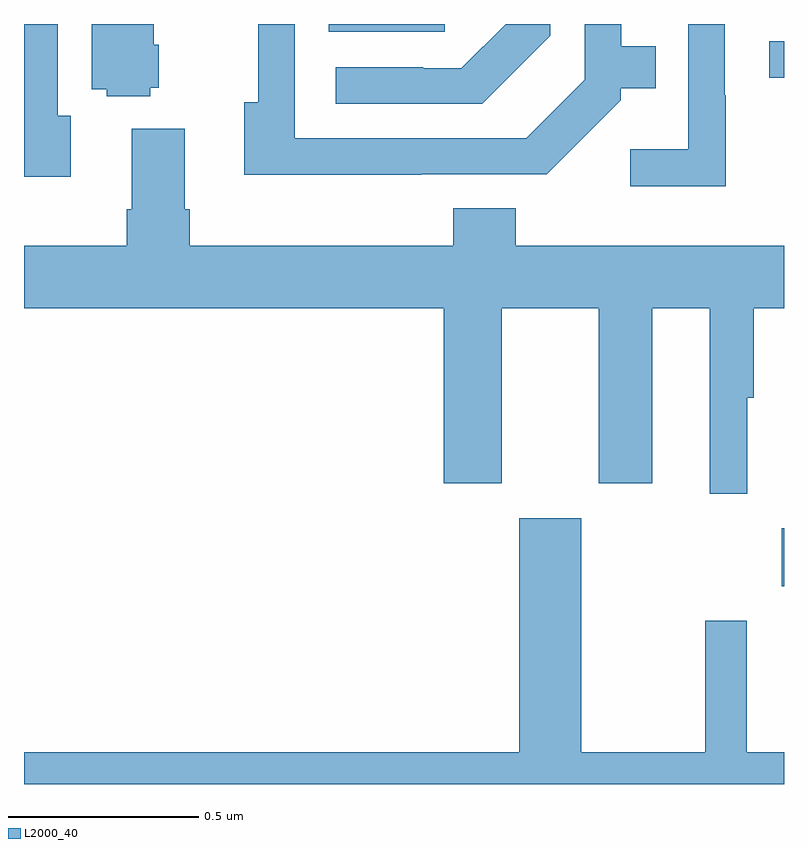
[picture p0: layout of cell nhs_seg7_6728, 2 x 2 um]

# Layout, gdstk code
import gdstk
lib = gdstk.Library(unit=1e-6, precision=1e-09)
def R(c, l, rs):  # rectangles x0, y0, x1, y1
    for r in rs: c.add(gdstk.rectangle(r[:2], r[2:], *l))
def P(c, l, *ps):  # polygons
    for p in ps: c.add(gdstk.Polygon(p, *l))
L2000_40 = (2000, 40)

nhs_seg7_6728 = lib.new_cell('nhs_seg7_6728')
R(nhs_seg7_6728, L2000_40, [(203.994,1030.52,204,1030.673), (203.961,1031.859,204,1031.955), (202.802,1031.979,203.107,1032)])
P(nhs_seg7_6728, L2000_40, [(203.385,1031.969),(203.385,1032),(203.268,1032),(203.151,1031.883),(203.051,1031.883),(203.051,1031.886),(202.821,1031.886),(202.821,1031.79),(203.206,1031.79)],
  [(203.045,1031.604),(203.376,1031.604),(203.571,1031.799),(203.571,1031.831),(203.663,1031.831),(203.663,1031.941),(203.572,1031.941),(203.572,1032),(203.475,1032),(203.475,1031.853),(203.322,1031.7),(202.713,1031.7),(202.713,1032),(202.617,1032),(202.617,1031.794),(202.58,1031.794),(202.58,1031.603),(203.045,1031.603)],
  [(203.847,1031.813),(203.844,1031.813),(203.844,1032),(203.748,1032),(203.748,1031.671),(203.595,1031.671),(203.595,1031.573),(203.847,1031.573)],
  [(202.123,1031.759),(202.089,1031.759),(202.089,1032),(202,1032),(202,1031.598),(202.123,1031.598)],
  [(202.332,1031.832),(202.354,1031.832),(202.354,1031.946),(202.342,1031.946),(202.342,1032),(202.178,1032),(202.178,1031.828),(202.218,1031.828),(202.218,1031.81),(202.332,1031.81)],
  [(203.903,1031.016),(203.921,1031.016),(203.921,1031.252),(204,1031.252),(204,1031.416),(203.294,1031.416),(203.294,1031.515),(203.129,1031.515),(203.129,1031.416),(202.436,1031.416),(202.436,1031.512),(202.423,1031.512),(202.423,1031.725),(202.283,1031.725),(202.283,1031.512),(202.271,1031.512),(202.271,1031.416),(202,1031.416),(202,1031.252),(203.105,1031.252),(203.105,1030.791),(203.257,1030.791),(203.257,1031.252),(203.513,1031.252),(203.513,1030.791),(203.653,1030.791),(203.653,1031.252),(203.804,1031.252),(203.804,1030.764),(203.903,1030.764)],
  [(204,1030.084),(203.902,1030.084),(203.902,1030.429),(203.793,1030.429),(203.793,1030.084),(203.467,1030.084),(203.467,1030.699),(203.303,1030.699),(203.303,1030.084),(202,1030.084),(202,1030),(204,1030)])

lib.write_gds('nhs_seg7_6728.gds')
